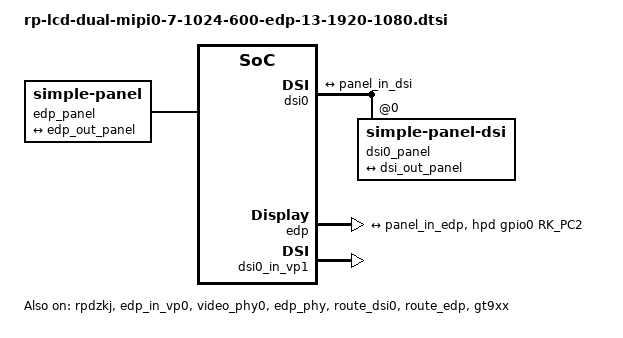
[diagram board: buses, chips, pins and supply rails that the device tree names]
#include <dt-bindings/display/media-bus-format.h>

#define RP_DUAL_LCD

&rpdzkj {
        compatible = "rp_config";
        user_version = "rpdzkj";
        system_rotate = "0";
				csi_camera_rotate = "0"; //all csi camera rotation //0 90 180 270 //no effect
				csi_camera_facing = "0"; //0:auto  1:all front   2:all back //no effect
				usb_camera_rotate = "0"; //all usb camera rotation //0 90 180 270 
				usb_camera_facing = "0"; //0:auto  1:all front   2:all back
        lcd_density = "240";
        language = "zh-CN";   //zh-CN //en-US
        time_zone = "Asia/Shanghai"; //Asia/Shanghai = +8   //Europe/London  = +1       //Africa/Casablanca     = +0;
        not_navigation_bar = "false";
        not_status_bar = "false";
        default_launcher = "true";
        has_root = "true";
        usb_not_permission = "true";
        gps_use = "false";
        gps_serial_port = "/dev/ttyS4";
        primary_device = "DSI";
        extend_device = "HDMI-A";
        extend_rotate = "0";
        rotation_efull = "false";
        home_apk = "null";
        status = "okay";
};



&dsi0 {
	status = "okay";
	rockchip,lane-rate = <480>;
    
	dsi0_panel: panel@0 {
		status = "okay";
		compatible = "simple-panel-dsi";
		reg = <0>;

		reset-delay-ms = <60>;
		enable-delay-ms = <60>;
		prepare-delay-ms = <60>;
		unprepare-delay-ms = <60>;
		disable-delay-ms = <60>;
		dsi,flags = <(MIPI_DSI_MODE_VIDEO | MIPI_DSI_MODE_VIDEO_BURST |
                        MIPI_DSI_MODE_LPM | MIPI_DSI_MODE_EOT_PACKET)>;
		dsi,format = <MIPI_DSI_FMT_RGB888>;
		dsi,lanes  = <4>;
		
		/**
		 * power-supply = <>;
		 * reset-gpios = <>;
		 *
		 * lcd reset pin and power supply
		 * please refer to ***-lcd-gpio.dtsi
		 * that included in main dts.
		 */
		
		panel-init-sequence = [
			05 78 01 11
			05 78 01 29
		];
		
		panel-exit-sequence = [
			05 00 01 28
			05 78 01 10
		];

		disp_timings0: display-timings {
			native-mode = <&dsi0_timing0>;
			dsi0_timing0: timing0 {
				clock-frequency = <51000000>;
				hactive = <1024>;
				vactive = <600>;
				hback-porch = <160>;
				hfront-porch = <136>;
				vback-porch = <16>;
				vfront-porch = <16>;
				hsync-len = <4>;
				vsync-len = <2>;
				hsync-active = <0>;
				vsync-active = <0>;
				de-active = <0>;
				pixelclk-active = <1>;
			};
		};


		ports {
			#address-cells = <1>;
			#size-cells = <0>;

			port@0 {
				reg = <0>;
				panel_in_dsi: endpoint {
					remote-endpoint = <&dsi_out_panel>;
				};
			};
		};
	};

	ports {
		#address-cells = <1>;
		#size-cells = <0>;

		port@1 {
			reg = <1>;
			dsi_out_panel: endpoint {
				remote-endpoint = <&panel_in_dsi>;
			};
		};
	};
};




&edp_panel {
	status = "okay";
        compatible = "simple-panel";

        prepare-delay-ms = <20>;
        enable-delay-ms = <20>;
        disable-delay-ms = <20>;
        unprepare-delay-ms = <20>;
	
		/**
		 * power-supply = <>;
		 * reset-gpios = <>;
		 *
		 * lcd reset pin and power supply
		 * please refer to ***-lcd-gpio.dtsi
		 * that included in main dts.
		 */

        display-timings {
                native-mode = <&timing1>;

                timing0: timing0 {//EDP 13.3
                        clock-frequency = <150000000>;
                        hactive = <1920>;
                        vactive = <1080>;
                        hfront-porch = <12>;
                        hsync-len = <16>;
                        hback-porch = <48>;
                        vfront-porch = <8>;
                        vsync-len = <4>;
                        vback-porch = <8>;
                        hsync-active = <0>;
                        vsync-active = <0>;
                        de-active = <0>;
                        pixelclk-active = <0>;
                };

                timing1: timing1 {// EDP 15.6   LP156WF6
                        clock-frequency = <138000000>;
                        hactive = <1920>;
                        vactive = <1080>;
                        hfront-porch = <48>;
                        hsync-len = <32>;
                        hback-porch = <80>;
                        vfront-porch = <3>;
                        vsync-len = <5>;
                        vback-porch = <23>;
                        hsync-active = <0>;
                        vsync-active = <0>;
                        de-active = <0>;
                        pixelclk-active = <0>;
                };
        };

        ports {
                	panel_in_edp: endpoint {
                        	remote-endpoint = <&edp_out_panel>;
			};
	};
};


&edp {
	hpd-gpios = <&gpio0 RK_PC2 GPIO_ACTIVE_HIGH>;
	status = "okay";
	force-hpd;
        ports {
                port@1 {
                        reg = <1>;

                        edp_out_panel: endpoint {
                                remote-endpoint = <&panel_in_edp>;
                        };
                };
        };
};


&dsi0_in_vp0 {
	status = "disabled";
};

&dsi0_in_vp1 {
	status = "okay";
};



&dsi1_in_vp0 {
	status = "disabled";
};

&dsi1_in_vp1 {
	status = "disabled";
};



&lvds_in_vp1 {
	status = "disabled";
};

&lvds_in_vp2 {
	status = "disabled";
};



&edp_in_vp0 {
	status = "okay";
};

&edp_in_vp1 {
	status = "disabled";
};




&video_phy0 {
	status = "okay";
};


&edp_phy {
	status = "okay";
};



&route_dsi0 {
	status = "okay";
	connect = <&vp1_out_dsi0>;
};

&route_lvds {
	status = "disabled";
	connect = <&vp2_out_lvds>;
};

&route_edp {
	status = "okay";
	connect = <&vp0_out_edp>;
};




&pinctrl {
    goodix {
        goodix_irq: goodix-irq {
            rockchip,pins = <3 RK_PA2 RK_FUNC_GPIO &pcfg_pull_up>;
        };
    };
};


&gt9xx {
        status = "okay";

        compatible = "goodix,gt9xx";
        reg = <0x5d>;
        
		gtp_resolution_x = <1024>;
		gtp_resolution_y = <600>;
		gtp_int_tarigger = <1>;
		gtp_change_x2y = <0>;
		gtp_overturn_x = <0>;
		gtp_overturn_y = <0>;
		gtp_send_cfg = <1>;
		gtp_touch_wakeup = <1>;

		/**
		 * goodix_rst_gpio = <>;
		 * goodix_irq_gpio = <>;
		 *
		 * touch panel interrupt and reset pin
		 * please refer to ***-lcd-gpio.dtsi
		 * that included in main dts.
		 */

		goodix,cfg-group0 = [   //old touch
			41 00 04 58 02 05 7D 00 01 2F 28 
			0F 50 32 03 05 00 00 00 00 00 00 
			00 18 1A 1E 14 89 0D 0C 2C 2A 0C 
			08 00 00 00 82 03 1D 0A 32 05 0A 
			32 00 00 00 00 00 0B 1E 50 94 E5 
			02 08 00 00 04 A7 21 00 8B 28 00 
			73 31 00 62 3B 00 52 48 00 52 00 
			00 00 00 00 00 00 00 00 00 00 00 
			00 00 00 00 00 00 00 00 00 00 00 
			00 00 00 00 00 00 00 00 32 50 00 
			00 00 1C 1A 18 16 14 12 10 0E 0C 
			0A 08 06 04 02 00 00 00 00 00 00
			00 00 00 00 00 00 00 00 00 00 2A
			29 28 26 24 22 21 20 1F 1E 1D 18
			16 14 13 12 10 0F 0C 0A 08 06 FF
			FF FF FF 00 00 00 00 00 00 00 00
			00 00 00 00 00 00 00 00 3B 01
		];
		goodix,cfg-group5 = [   //new touch
			FF 00 04 58 02 05 0D 04 01
			0A 28 0A 50 32 03 05 00 00
			00 00 00 00 08 00 00 00 00
			8B 2B 0E 30 32 0F 0A 00 00
			00 83 02 1D 00 00 00 00 00
			03 03 32 00 00 00 24 60 94
			C0 02 00 00 00 04 93 27 00
			80 30 00 70 3B 00 65 47 00
			5C 57 00 5C 00 00 00 00 00
			00 00 00 00 00 00 00 00 00
			00 00 00 00 00 00 00 00 00
			00 00 00 00 00 00 00 00 00
			00 00 00 00 1C 1A 18 16 14
			12 10 0E 0C 0A 08 06 04 02
			00 00 00 00 00 00 00 00 00
			00 00 00 00 00 00 00 26 24
			22 21 20 1F 1E 1D 1C 18 16
			13 12 10 0F 0C 0A 08 06 04
			02 00 FF FF FF FF 00 00 00
			00 00 00 00 00 00 00 00 00
			00 00 00 00 6A 01
		];

};




